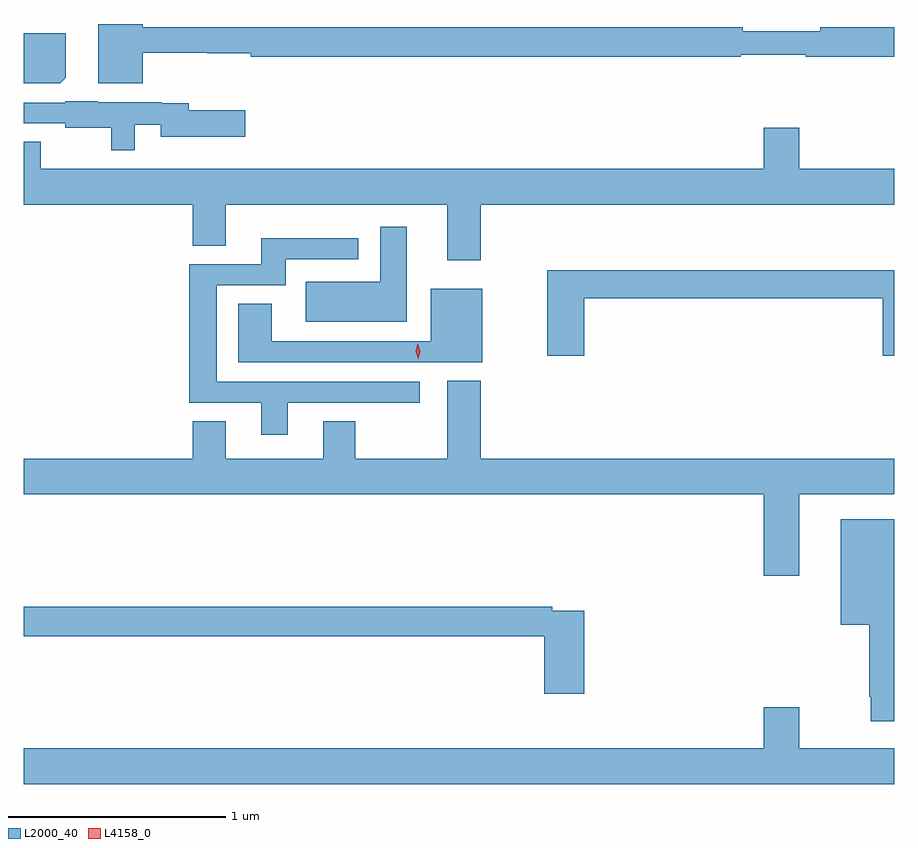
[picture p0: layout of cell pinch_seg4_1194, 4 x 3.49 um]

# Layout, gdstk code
import gdstk
lib = gdstk.Library(unit=1e-6, precision=1e-09)
def P(c, l, *ps):  # polygons
    for p in ps: c.add(gdstk.Polygon(p, *l))
L2000_40 = (2000, 40)
L4158_0 = (4158, 0)

pinch_seg4_1194 = lib.new_cell('pinch_seg4_1194')
P(pinch_seg4_1194, L2000_40, [(389.926,809.506),(390.222,809.506),(390.222,809.503),(390.422,809.503),(390.422,809.488),(392.674,809.488),(392.674,809.496),(392.974,809.496),(392.974,809.488),(393.379,809.488),(393.379,809.624),(393.04,809.624),(393.04,809.605),(392.684,809.605),(392.684,809.624),(389.926,809.624),(389.926,809.638),(389.72,809.638),(389.72,809.366),(389.926,809.366)],
  [(389.572,809.392),(389.572,809.596),(389.379,809.596),(389.379,809.366),(389.546,809.366)],
  [(389.889,809.174),(390.008,809.174),(390.008,809.12),(390.397,809.12),(390.397,809.242),(390.136,809.242),(390.136,809.274),(390.012,809.274),(390.012,809.278),(389.718,809.278),(389.718,809.284),(389.568,809.284),(389.568,809.277),(389.379,809.277),(389.379,809.181),(389.568,809.181),(389.568,809.162),(389.781,809.162),(389.781,809.057),(389.889,809.057)],
  [(391.478,808.808),(393.379,808.808),(393.379,808.972),(392.944,808.972),(392.944,809.161),(392.78,809.161),(392.78,808.972),(389.457,808.972),(389.457,809.096),(389.379,809.096),(389.379,808.808),(390.155,808.808),(390.155,808.618),(390.307,808.618),(390.307,808.808),(391.325,808.808),(391.325,808.551),(391.478,808.551)],
  [(391.138,808.705),(391.016,808.705),(391.016,808.453),(390.674,808.453),(390.674,808.268),(391.138,808.268)],
  [(390.592,807.897),(391.198,807.897),(391.198,807.993),(390.265,807.993),(390.265,808.437),(390.583,808.437),(390.583,808.557),(390.916,808.557),(390.916,808.654),(390.47,808.654),(390.47,808.533),(390.14,808.533),(390.14,807.897),(390.47,807.897),(390.47,807.75),(390.592,807.75)],
  [(391.955,808.378),(393.326,808.378),(393.326,808.113),(393.379,808.113),(393.379,808.507),(391.784,808.507),(391.784,808.113),(391.955,808.113)],
  [(391.486,808.42),(391.25,808.42),(391.25,808.179),(390.517,808.179),(390.517,808.351),(390.365,808.351),(390.365,808.083),(391.486,808.083)],
  [(392.944,807.476),(393.379,807.476),(393.379,807.64),(391.478,807.64),(391.478,807.997),(391.325,807.997),(391.325,807.64),(390.903,807.64),(390.903,807.812),(390.755,807.812),(390.755,807.64),(390.307,807.64),(390.307,807.812),(390.155,807.812),(390.155,807.64),(389.379,807.64),(389.379,807.476),(392.78,807.476),(392.78,807.102),(392.944,807.102)],
  [(393.379,807.361),(393.134,807.361),(393.134,806.876),(393.264,806.876),(393.264,806.545),(393.271,806.545),(393.271,806.433),(393.379,806.433)],
  [(391.955,806.94),(391.808,806.94),(391.808,806.96),(389.379,806.96),(389.379,806.824),(391.772,806.824),(391.772,806.559),(391.955,806.559)],
  [(393.379,806.308),(392.944,806.308),(392.944,806.497),(392.78,806.497),(392.78,806.308),(389.379,806.308),(389.379,806.144),(393.379,806.144)])
P(pinch_seg4_1194, L4158_0, [(391.192,808.097),(391.192,808.098),(391.181,808.133),(391.189,808.169),(391.189,808.169),(391.19,808.169),(391.201,808.134),(391.192,808.098)])

lib.write_gds('pinch_seg4_1194.gds')
